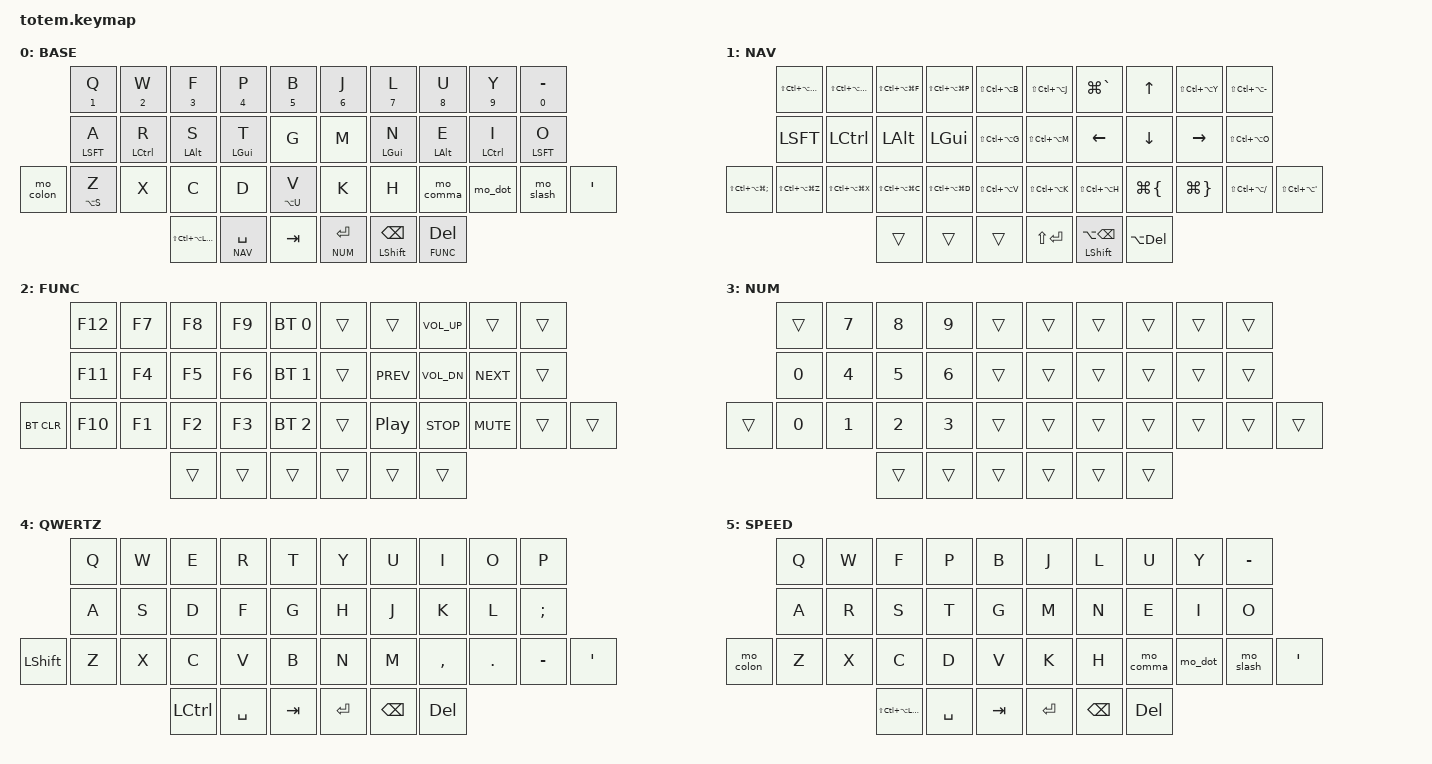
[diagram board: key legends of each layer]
//
//                                                        ▀▀▀▀▀     ▀▀▀▀▀          ▀▀█▀▀
//                                                        ▄▀▀▀▄  ▄  ▄▀▀▀▄  ▄  ▄▀▀▀▄  █  ▄▀▀▀▄
//                                                        █   █  █  █   █  █  █   █  █  █   █
//                                                         ▀▀▀   █   ▀▀▀   █   ▀▀▀   ▀   ▀▀▀
//                                                               █      ▄▄▄█▄▄▄    █   █  
//                                                               ▀      █  █  █     █▄█
//                                                             ▀▀▀▀▀    █  █  █      ▀
//                                                                      ▀  ▀  ▀
//
// ▄▄▄▄▄▄▄▄▄▄▄▄▄▄▄▄▄▄▄▄▄▄▄▄▄▄▄▄▄▄▄▄▄▄▄▄▄▄▄▄▄▄▄▄▄▄▄▄▄▄▄▄▄▄▄▄▄▄▄▄▄▄▄▄▄▄▄▄▄▄▄▄▄▄▄▄▄▄▄▄▄▄▄▄▄▄▄▄▄▄▄▄▄▄▄▄▄▄▄▄▄▄▄▄▄▄▄▄▄▄▄▄▄▄▄▄▄▄▄▄▄▄▄▄▄▄▄▄▄▄▄▄▄▄▄▄▄▄▄▄▄▄▄▄▄▄▄▄▄▄▄▄▄▄
       

#include <behaviors.dtsi>
#include <dt-bindings/zmk/keys.h>
#include <dt-bindings/zmk/bt.h>
#include <dt-bindings/zmk/outputs.h>

// Layer definitions
#define BASE 0
#define NAV  1
#define FUNC 2
#define NUM  3
#define QWERTZ 4
#define SPEED 5

// Home row mods macros for Totem (38-key layout)
// Top row: 0-4 (left), 5-9 (right)
// Home row: 10-14 (left), 15-19 (right)  
// Bottom row: 20-25 (left), 26-31 (right), this includes the extra keys on the totem
// Thumb keys: 32-34 (left), 35-37 (right)
#define KEYS_L 0 1 2 3 4 10 11 12 13 14 20 21 22 23 24 25 // left-hand keys
#define KEYS_R 5 6 7 8 9 15 16 17 18 19 26 27 28 29 30 31 // right-hand keys
#define THUMBS 32 33 34 35 36 37 // thumb keys

#define COMBO_TERM_FAST 24
#define COMBO_TERM_SLOW 40

#define COMBO_IDLE_FAST 150
#define COMBO_IDLE_SLOW 50

// Behavior customizations
&lt {
    flavor = "balanced";
    tapping-term-ms = <280>;
    quick-tap-ms = <150>;
    require-prior-idle-ms = <75>;
};

&mt {
    flavor = "balanced";
    tapping-term-ms = <200>;
    quick-tap-ms = <175>;
    bindings = <&kp>, <&kp>;
};

/ {
    behaviors {
        // Thumb shift hold-tap
        ht_shift: thumb_shift {
            compatible = "zmk,behavior-hold-tap";
            label = "THUMB_SHIFT";
            #binding-cells = <2>;
            flavor = "hold-preferred";
            tapping-term-ms = <220>;
            bindings = <&kp>, <&kp>;
        };
        
        // Home row mods - left hand (ASRT)
        hml: homerow_mods_left {
            compatible = "zmk,behavior-hold-tap";
            label = "HOMEROW_MODS_LEFT";
            #binding-cells = <2>;
            flavor = "balanced";
            tapping-term-ms = <250>;
            quick-tap-ms = <175>;
            require-prior-idle-ms = <150>;
            bindings = <&kp>, <&kp>;
            hold-trigger-key-positions = <KEYS_R THUMBS>;
            hold-trigger-on-release;
        };
        
        // Home row mods - right hand (NEIO)
        hmr: homerow_mods_right {
            compatible = "zmk,behavior-hold-tap";
            label = "HOMEROW_MODS_RIGHT";
            #binding-cells = <2>;
            flavor = "balanced";
            tapping-term-ms = <250>;
            quick-tap-ms = <175>; 
            require-prior-idle-ms = <150>;
            bindings = <&kp>, <&kp>;
            hold-trigger-key-positions = <KEYS_L THUMBS>;
            hold-trigger-on-release;
        };
        
        // Comma/Exclamation mod-morph
        mo_comma: mo_comma {
            compatible = "zmk,behavior-mod-morph";
            #binding-cells = <0>;
            bindings = <&kp COMMA>, <&kp EXCL>;
            mods = <(MOD_LSFT|MOD_RSFT)>;
        };

        // Dot/Question mod-morph
        mo_dot: mo_dot {
            compatible = "zmk,behavior-mod-morph";
            #binding-cells = <0>;
            bindings = <&kp DOT>, <&kp QMARK>;
            mods = <(MOD_LSFT|MOD_RSFT)>;
        };

        // Slash/Backslash mod-morph
        mo_slash: mo_slash {
            compatible = "zmk,behavior-mod-morph";
            #binding-cells = <0>;
            bindings = <&kp FSLH>, <&kp BSLH>;
            mods = <(MOD_LSFT|MOD_RSFT)>;
        };
        
        // Colon/Semicolon mod-morph (reversed: colon is default, semicolon when shifted)
        mo_colon: mo_colon {
            compatible = "zmk,behavior-mod-morph";
            #binding-cells = <0>;
            bindings = <&kp COLON>, <&kp SEMI>;
            mods = <(MOD_LSFT|MOD_RSFT)>;
        };
        
        // Left parenthesis / less-than mod-morph
        mo_lpar: mo_lpar {
            compatible = "zmk,behavior-mod-morph";
            #binding-cells = <0>;
            bindings = <&kp LPAR>, <&kp LT>;
            mods = <(MOD_LSFT|MOD_RSFT)>;
        };
        
        // Right parenthesis / greater-than mod-morph
        mo_rpar: mo_rpar {
            compatible = "zmk,behavior-mod-morph";
            #binding-cells = <0>;
            bindings = <&kp RPAR>, <&kp GT>;
            mods = <(MOD_LSFT|MOD_RSFT)>;
        };
        
        // Number row hold-tap
        ht_num: hold_tap_number {
            compatible = "zmk,behavior-hold-tap";
            label = "HOLD_TAP_NUMBER";
            #binding-cells = <2>;
            flavor = "balanced";
            tapping-term-ms = <300>;
            quick-tap-ms = <175>;
            bindings = <&kp>, <&kp>;
        };

        // hold-tap behavior
        ht_alt: hold_tap_alt {
            compatible = "zmk,behavior-hold-tap";
            label = "HOLD_TAP_ALT";
            #binding-cells = <2>;
            flavor = "balanced";
            tapping-term-ms = <170>;
            quick-tap-ms = <175>;
            bindings = <&kp>, <&kp>;
        };
    };

    // Macros
    macros {
        email: email {
            label = "email_macro";
            compatible = "zmk,behavior-macro";
            #binding-cells = <0>;
            bindings = <&macro_tap &kp J &kp A &kp N &kp N &kp I &kp K &kp AT &kp F &kp E &kp U &kp E &kp R &kp DOT &kp D &kp E &kp V>;
        };
    };

    // Combos
    combos {
        compatible = "zmk,combos";
        
        combo_capsword {
            timeout-ms = <COMBO_TERM_SLOW>;
            require-prior-idle-ms = <COMBO_IDLE_FAST>;
            key-positions = <10 19>; // A and O keys
            bindings = <&caps_word>;
        };
        
        combo_esc {
            timeout-ms = <COMBO_TERM_SLOW>;
            require-prior-idle-ms = <COMBO_IDLE_SLOW>;
            key-positions = <1 2>; // W and F keys
            bindings = <&kp ESC>;
        };
        
        combo_ctrl_c {
            timeout-ms = <COMBO_TERM_SLOW>;
            require-prior-idle-ms = <COMBO_IDLE_SLOW>;
            key-positions = <0 1>; // Q and W keys
            bindings = <&kp LC(C)>;
        };
        
        // Copy, Cut, Paste combos with direct keycodes
        combo_cut {
            timeout-ms = <COMBO_TERM_FAST>;
            require-prior-idle-ms = <COMBO_IDLE_FAST>;
            key-positions = <21 22>; // Z and X keys
            bindings = <&kp LG(X)>;
        };        
        
        combo_cut_alt {
            timeout-ms = <COMBO_TERM_SLOW>;
            require-prior-idle-ms = <COMBO_IDLE_SLOW>;
            key-positions = <22 24>; // X and D keys
            bindings = <&kp LG(X)>;
        };

        combo_copy {
            timeout-ms = <COMBO_TERM_FAST>;
            require-prior-idle-ms = <COMBO_IDLE_FAST>;
            key-positions = <22 23>; // X and C keys
            bindings = <&kp LG(C)>;
        };
        
        combo_paste {
            timeout-ms = <COMBO_TERM_FAST>;
            require-prior-idle-ms = <COMBO_IDLE_FAST>;
            key-positions = <23 24>; // C and D keys
            bindings = <&kp LG(V)>;
        };

        combo_hash {
            timeout-ms = <COMBO_TERM_FAST>;
            require-prior-idle-ms = <COMBO_IDLE_FAST>;
            key-positions = <13 14>; // T and G keys
            bindings = <&kp HASH>;
        };
        
        combo_dollar {
            timeout-ms = <COMBO_TERM_FAST>;
            require-prior-idle-ms = <COMBO_IDLE_FAST>;
            key-positions = <2 3>; // F and P keys
            bindings = <&kp DLLR>;
        };
        
        // Square brackets
        combo_lbracket {
            timeout-ms = <COMBO_TERM_FAST>;
            require-prior-idle-ms = <COMBO_IDLE_FAST>;
            key-positions = <6 7>; // L and U keys (top row)
            bindings = <&kp LBKT>;
        };
        
        combo_rbracket {
            timeout-ms = <COMBO_TERM_FAST>;
            require-prior-idle-ms = <COMBO_IDLE_FAST>;
            key-positions = <7 8>; // U and Y keys (top row)
            bindings = <&kp RBKT>;
        };
        
        // Parentheses
        combo_lparen {
            timeout-ms = <COMBO_TERM_FAST>;
            require-prior-idle-ms = <COMBO_IDLE_FAST>;
            key-positions = <16 17>; // N and E keys (home row)
            bindings = <&mo_lpar>;
        };
        
        combo_rparen {
            timeout-ms = <COMBO_TERM_FAST>;
            require-prior-idle-ms = <COMBO_IDLE_FAST>;
            key-positions = <17 18>; // E and I keys (home row)
            bindings = <&mo_rpar>;
        };
        
        // Curly braces
        combo_lbrace {
            timeout-ms = <COMBO_TERM_FAST>;
            require-prior-idle-ms = <COMBO_IDLE_FAST>;
            key-positions = <27 28>; // H and COMMA keys (bottom row)
            bindings = <&kp LBRC>;
        };
        
        combo_rbrace {
            timeout-ms = <COMBO_TERM_FAST>;
            require-prior-idle-ms = <COMBO_IDLE_FAST>;
            key-positions = <28 29>; // COMMA and DOT keys
            bindings = <&kp RBRC>;
        };
        
        // Arithmetic operators on home row (left hand)
        combo_equal {
            timeout-ms = <COMBO_TERM_FAST>;
            require-prior-idle-ms = <COMBO_IDLE_FAST>;
            key-positions = <12 13>; // S and T keys
            bindings = <&kp EQUAL>;
        };
        
        combo_plus {
            timeout-ms = <COMBO_TERM_FAST>;
            require-prior-idle-ms = <COMBO_IDLE_FAST>;
            key-positions = <11 12>; // R and S keys
            bindings = <&kp PLUS>;
        };
        
        combo_at {
            timeout-ms = <COMBO_TERM_FAST>;
            require-prior-idle-ms = <COMBO_IDLE_FAST>;
            key-positions = <15 16>; // M and N keys (home row)
            bindings = <&kp AT>;
        };

        // Vertical combos
        combo_percent {
            timeout-ms = <COMBO_TERM_SLOW>;
            require-prior-idle-ms = <COMBO_IDLE_SLOW>;
            key-positions = <3 13>; // P and T keys (index finger left top, vertical)
            bindings = <&kp PRCNT>;
        };
        
        combo_pipe {
            timeout-ms = <COMBO_TERM_SLOW>;
            require-prior-idle-ms = <COMBO_IDLE_SLOW>;
            key-positions = <7 17>; // U and E keys (middle finger right top, vertical)
            bindings = <&kp PIPE>;
        };
        
        combo_tilde {
            timeout-ms = <COMBO_TERM_SLOW>;
            require-prior-idle-ms = <COMBO_IDLE_SLOW>;
            key-positions = <6 16>; // L and N keys (index finger right top, vertical)
            bindings = <&kp TILDE>;
        };
        
        combo_grave {
            timeout-ms = <COMBO_TERM_SLOW>;
            require-prior-idle-ms = <COMBO_IDLE_SLOW>;
            key-positions = <16 27>; // N and H keys (index finger right bottom, vertical)
            bindings = <&kp GRAVE>;
        };
        
        combo_star {
            timeout-ms = <COMBO_TERM_SLOW>;
            require-prior-idle-ms = <COMBO_IDLE_SLOW>;
            key-positions = <12 23>; // S and C keys (middle finger left bottom, vertical)
            bindings = <&kp STAR>;
        };
        
        combo_caret {
            timeout-ms = <COMBO_TERM_SLOW>;
            require-prior-idle-ms = <COMBO_IDLE_SLOW>;
            key-positions = <2 12>; // F and S keys (middle finger left top, vertical) 
            bindings = <&kp CARET>;
        };
        
        combo_amps {
            timeout-ms = <COMBO_TERM_SLOW>;
            require-prior-idle-ms = <COMBO_IDLE_SLOW>;
            key-positions = <13 24>; // T and D keys (index finger left bottom, vertical)
            bindings = <&kp AMPS>;
        };
        
        combo_email {
            timeout-ms = <COMBO_TERM_FAST>;
            require-prior-idle-ms = <COMBO_IDLE_FAST>;
            key-positions = <14 15>; // G and M 
            bindings = <&email>;
        };

        // Ampersand combo
        combo_ampersand {
            timeout-ms = <COMBO_TERM_SLOW>;
            require-prior-idle-ms = <COMBO_IDLE_SLOW>;
            key-positions = <3 6>; // P and L keys
            bindings = <&kp AMPS>;
        };

        // Backtick combo  
        combo_grave_dh {
            timeout-ms = <COMBO_TERM_SLOW>;
            require-prior-idle-ms = <COMBO_IDLE_SLOW>;
            key-positions = <24 27>; // D and H keys
            bindings = <&kp GRAVE>;
        };

        // Star/asterisk combo
        combo_star_fu {
            timeout-ms = <COMBO_TERM_SLOW>;
            require-prior-idle-ms = <COMBO_IDLE_SLOW>;
            key-positions = <2 7>; // F and U keys
            bindings = <&kp STAR>;
        };

        // Plus combo
        combo_plus_comma_c {
            timeout-ms = <COMBO_TERM_SLOW>;
            require-prior-idle-ms = <COMBO_IDLE_SLOW>;
            key-positions = <28 23>; // comma and C keys
            bindings = <&kp PLUS>;
        };

        // Toggle SPEED layer combo
        combo_toggle_speed {
            timeout-ms = <50>;
            require-prior-idle-ms = <100>;
            key-positions = <21 30>; // Z and / keys 
            bindings = <&tog SPEED>;
        };

        // Bootloader combo
        combo_bootloader {
            timeout-ms = <60>;
            require-prior-idle-ms = <400>;
            key-positions = <20 31>; // Leftmost and rightmost keys on the bottom row
            bindings = <&bootloader>;
        };

        // QWERTZ layer toggle
        combo_toggle_qwertz {
            timeout-ms = <50>;
            require-prior-idle-ms = <100>;
            key-positions = <0 9>; // Q and - keys (top outside keys)
            bindings = <&tog QWERTZ>;
        };
    };

    keymap {
        compatible = "zmk,keymap";

        base_layer {
// ┏━━━━━━━━━━━━━━━━━━━━━━━━━━━━━━━━━━━━━━━┓
label= "BASE"                              ;
// ┗━━━━━━━━━━━━━━━━━━━━━━━━━━━━━━━━━━━━━━━┛
//             ┏━━━━━━━━━━━┳━━━━━━━━━━━┳━━━━━━━━━━━┳━━━━━━━━━━━┳━━━━━━━━━━━┓   ┏━━━━━━━━━━━┳━━━━━━━━━━━┳━━━━━━━━━━━┳━━━━━━━━━━━┳━━━━━━━━━━━┓
//             ┃   Q/1     ┃   W/2     ┃   F/3     ┃   P/4     ┃   B/5     ┃   ┃   J/6     ┃   L/7     ┃   U/8     ┃   Y/9     ┃   -/0     ┃
//             ┣━━━━━━━━━━━╋━━━━━━━━━━━╋━━━━━━━━━━━╋━━━━━━━━━━━╋━━━━━━━━━━━┫   ┣━━━━━━━━━━━╋━━━━━━━━━━━╋━━━━━━━━━━━╋━━━━━━━━━━━╋━━━━━━━━━━━┫
//             ┃   LSFT(A) ┃  LCTRL(R) ┃  LALT(S)  ┃  LGUI(T)  ┃     G     ┃   ┃     M     ┃  LGUI(N)  ┃  LALT(E)  ┃  LCTRL(I) ┃  LSFT(O)  ┃
// ┏━━━━━━━━━━━╋━━━━━━━━━━━╋━━━━━━━━━━━╋━━━━━━━━━━━╋━━━━━━━━━━━╋━━━━━━━━━━━┫   ┣━━━━━━━━━━━╋━━━━━━━━━━━╋━━━━━━━━━━━╋━━━━━━━━━━━╋━━━━━━━━━━━╋━━━━━━━━━━━┓
// ┃     :     ┃    Z/ß    ┃     X     ┃     C     ┃     D     ┃    V/Ü    ┃   ┃     K     ┃     H     ┃     ,     ┃     .     ┃     /     ┃     '     ┃
// ┗━━━━━━━━━━━┻━━━━━━━━━━━┻━━━━━━━━━━━╋━━━━━━━━━━━╋━━━━━━━━━━━╋━━━━━━━━━━━┫   ┣━━━━━━━━━━━╋━━━━━━━━━━━╋━━━━━━━━━━━╋━━━━━━━━━━━╋━━━━━━━━━━━╋━━━━━━━━━━━┛
//                                     ┃    HYPR   ┃  NAV(SPC) ┃    TAB    ┃   ┃  NUM(RET) ┃ SFT(BSPC) ┃ FUNC(DEL) ┃
//                                     ┗━━━━━━━━━━━┻━━━━━━━━━━━┻━━━━━━━━━━━┛   ┗━━━━━━━━━━━┻━━━━━━━━━━━┻━━━━━━━━━━━┛
bindings = <
// ╷           ╷           ╷           ╷           ╷           ╷           ╷ - ╷           ╷           ╷           ╷           ╷           ╷           ╷

                &ht_num N1 Q &ht_num N2 W &ht_num N3 F &ht_num N4 P &ht_num N5 B &ht_num N6 J &ht_num N7 L &ht_num N8 U &ht_num N9 Y &ht_num N0 MINUS
                &hml LSFT A &hml LCTRL R &hml LALT S &hml LGUI T &kp G           &kp M       &hmr LGUI N &hmr LALT E &hmr LCTRL I &hmr LSFT O
    &mo_colon   &ht_alt LA(S) Z &kp X     &kp C       &kp D       &ht_alt LA(U) V   &kp K       &kp H       &mo_comma   &mo_dot     &mo_slash   &kp SQT
                               &kp LS(LC(LA(LGUI))) &lt NAV SPACE &kp TAB        &lt NUM RET &ht_shift LSHFT BSPC &lt FUNC DEL
            >;
        };

        nav_layer {
// ┏━━━━━━━━━━━━━━━━━━━━━━━━━━━━━━━━━━━━━━━┓
label= "NAV"                              ;
// ┗━━━━━━━━━━━━━━━━━━━━━━━━━━━━━━━━━━━━━━━┛
//             ┏━━━━━━━━━━━┳━━━━━━━━━━━┳━━━━━━━━━━━┳━━━━━━━━━━━┳━━━━━━━━━━━┓   ┏━━━━━━━━━━━┳━━━━━━━━━━━┳━━━━━━━━━━━┳━━━━━━━━━━━┳━━━━━━━━━━━┓
//             ┃  ALL+Q    ┃  ALL+W    ┃  FINDER   ┃CMD PALETTE┃  MEH+B    ┃   ┃ GO TO DEF ┃ SWITCH WIN┃     UP    ┃ L SIDEBAR ┃ R SIDEBAR ┃
//             ┣━━━━━━━━━━━╋━━━━━━━━━━━╋━━━━━━━━━━━╋━━━━━━━━━━━╋━━━━━━━━━━━┫   ┣━━━━━━━━━━━╋━━━━━━━━━━━╋━━━━━━━━━━━╋━━━━━━━━━━━╋━━━━━━━━━━━┫
//             ┃   LSFT    ┃   LCTRL   ┃   LALT    ┃   LGUI    ┃  MEH+G    ┃   ┃ SPOTLIGHT ┃   LEFT    ┃   DOWN    ┃   RIGHT   ┃ GIT VIEW  ┃
// ┏━━━━━━━━━━━╋━━━━━━━━━━━╋━━━━━━━━━━━╋━━━━━━━━━━━╋━━━━━━━━━━━╋━━━━━━━━━━━┫   ┣━━━━━━━━━━━╋━━━━━━━━━━━╋━━━━━━━━━━━╋━━━━━━━━━━━╋━━━━━━━━━━━╋━━━━━━━━━━━┓
// ┃  ALL+SEMI ┃  SPOTIFY  ┃  SLACK    ┃  CHROME   ┃  CURSOR   ┃VOICE INPUT┃   ┃ MOUSE CTL2┃ MOUSE CTL1┃ PREV TAB  ┃  NEXT TAB ┃ BOTTOM BAR┃MOUSESCROLL┃
// ┗━━━━━━━━━━━┻━━━━━━━━━━━┻━━━━━━━━━━━╋━━━━━━━━━━━╋━━━━━━━━━━━╋━━━━━━━━━━━┫   ┣━━━━━━━━━━━╋━━━━━━━━━━━╋━━━━━━━━━━━╋━━━━━━━━━━━╋━━━━━━━━━━━╋━━━━━━━━━━━┛
//                                     ┃           ┃  ⬇ ⬇ ⬇  ┃           ┃   ┃ SHFT+RET  ┃ ALT+BSPC  ┃ ALT+DEL   ┃
//                                     ┗━━━━━━━━━━━┻━━━━━━━━━━━┻━━━━━━━━━━━┛   ┗━━━━━━━━━━━┻━━━━━━━━━━━┻━━━━━━━━━━━┛
            bindings = <
// ╷           ╷           ╷           ╷           ╷           ╷           ╷ - ╷           ╷           ╷           ╷           ╷           ╷           ╷

                &kp LS(LC(LA(LG(Q)))) &kp LS(LC(LA(LG(W)))) &kp LS(LC(LA(LG(F)))) &kp LS(LC(LA(LG(P)))) &kp LS(LC(LA(B)))     &kp LS(LC(LA(J))) &kp LG(GRAVE) &kp UP       &kp LS(LC(LA(Y))) &kp LS(LC(LA(MINUS)))
                &kp LSFT    &kp LCTRL   &kp LALT    &kp LGUI    &kp LS(LC(LA(G)))     &kp LS(LC(LA(M))) &kp LEFT &kp DOWN &kp RIGHT    &kp LS(LC(LA(O)))
    &kp LS(LC(LA(LG(SEMI)))) &kp LS(LC(LA(LG(Z)))) &kp LS(LC(LA(LG(X)))) &kp LS(LC(LA(LG(C)))) &kp LS(LC(LA(LG(D)))) &kp LS(LC(LA(V)))     &kp LS(LC(LA(K))) &kp LS(LC(LA(H))) &kp LG(LBRC) &kp LG(RBRC) &kp LS(LC(LA(FSLH))) &kp LS(LC(LA(SQT)))
                                        &trans      &trans      &trans           &kp LS(RET)   &ht_shift LSHFT LA(BSPC)  &kp LA(DEL)
            >;
        };

        func_layer {
// ┏━━━━━━━━━━━━━━━━━━━━━━━━━━━━━━━━━━━━━━━┓
label= "FUNC"                              ;
// ┗━━━━━━━━━━━━━━━━━━━━━━━━━━━━━━━━━━━━━━━┛
//             ┏━━━━━━━━━━━┳━━━━━━━━━━━┳━━━━━━━━━━━┳━━━━━━━━━━━┳━━━━━━━━━━━┓   ┏━━━━━━━━━━━┳━━━━━━━━━━━┳━━━━━━━━━━━┳━━━━━━━━━━━┳━━━━━━━━━━━┓
//             ┃    F12    ┃    F7     ┃    F8     ┃    F9     ┃           ┃   ┃           ┃           ┃  VOL UP   ┃           ┃           ┃
//             ┣━━━━━━━━━━━╋━━━━━━━━━━━╋━━━━━━━━━━━╋━━━━━━━━━━━╋━━━━━━━━━━━┫   ┣━━━━━━━━━━━╋━━━━━━━━━━━╋━━━━━━━━━━━╋━━━━━━━━━━━╋━━━━━━━━━━━┫
//             ┃    F11    ┃    F4     ┃    F5     ┃    F6     ┃           ┃   ┃           ┃   PREV    ┃  VOL DN   ┃   NEXT    ┃           ┃
// ┏━━━━━━━━━━━╋━━━━━━━━━━━╋━━━━━━━━━━━╋━━━━━━━━━━━╋━━━━━━━━━━━╋━━━━━━━━━━━┫   ┣━━━━━━━━━━━╋━━━━━━━━━━━╋━━━━━━━━━━━╋━━━━━━━━━━━╋━━━━━━━━━━━╋━━━━━━━━━━━┓
// ┃           ┃    F10    ┃    F1     ┃    F2     ┃    F3     ┃           ┃   ┃           ┃PLAY/PAUSE ┃   STOP    ┃   MUTE    ┃           ┃           ┃
// ┗━━━━━━━━━━━┻━━━━━━━━━━━┻━━━━━━━━━━━╋━━━━━━━━━━━╋━━━━━━━━━━━╋━━━━━━━━━━━┫   ┣━━━━━━━━━━━╋━━━━━━━━━━━╋━━━━━━━━━━━╋━━━━━━━━━━━╋━━━━━━━━━━━╋━━━━━━━━━━━┛
//                                     ┃           ┃           ┃           ┃   ┃           ┃           ┃  ⬇ ⬇ ⬇  ┃
//                                     ┗━━━━━━━━━━━┻━━━━━━━━━━━┻━━━━━━━━━━━┛   ┗━━━━━━━━━━━┻━━━━━━━━━━━┻━━━━━━━━━━━┛
            bindings = <
// ╷           ╷           ╷           ╷           ╷           ╷           ╷ - ╷           ╷           ╷           ╷           ╷           ╷           ╷

                &kp F12     &kp F7      &kp F8      &kp F9      &bt BT_SEL 0    &trans      &trans      &kp C_VOL_UP &trans     &trans
                &kp F11     &kp F4      &kp F5      &kp F6      &bt BT_SEL 1    &trans      &kp C_PREV  &kp C_VOL_DN &kp C_NEXT &trans
    &bt BT_CLR  &kp F10     &kp F1      &kp F2      &kp F3      &bt BT_SEL 2    &trans      &kp C_PP    &kp C_STOP   &kp C_MUTE &trans &trans
                                        &trans      &trans      &trans          &trans      &trans      &trans
            >;
        };

        num_layer {
// ┏━━━━━━━━━━━━━━━━━━━━━━━━━━━━━━━━━━━━━━━┓
label= "NUM"                              ;
// ┗━━━━━━━━━━━━━━━━━━━━━━━━━━━━━━━━━━━━━━━┛
//             ┏━━━━━━━━━━━┳━━━━━━━━━━━┳━━━━━━━━━━━┳━━━━━━━━━━━┳━━━━━━━━━━━┓   ┏━━━━━━━━━━━┳━━━━━━━━━━━┳━━━━━━━━━━━┳━━━━━━━━━━━┳━━━━━━━━━━━┓
//             ┃           ┃     7     ┃     8     ┃     9     ┃           ┃   ┃    BT 1   ┃    BT 2   ┃    BT 3   ┃  BT CLEAR ┃           ┃
//             ┣━━━━━━━━━━━╋━━━━━━━━━━━╋━━━━━━━━━━━╋━━━━━━━━━━━╋━━━━━━━━━━━┫   ┣━━━━━━━━━━━╋━━━━━━━━━━━╋━━━━━━━━━━━╋━━━━━━━━━━━╋━━━━━━━━━━━┫
//             ┃     0     ┃     4     ┃     5     ┃     6     ┃           ┃   ┃           ┃           ┃           ┃           ┃           ┃
// ┏━━━━━━━━━━━╋━━━━━━━━━━━╋━━━━━━━━━━━╋━━━━━━━━━━━╋━━━━━━━━━━━╋━━━━━━━━━━━┫   ┣━━━━━━━━━━━╋━━━━━━━━━━━╋━━━━━━━━━━━╋━━━━━━━━━━━╋━━━━━━━━━━━╋━━━━━━━━━━━┓
// ┃           ┃     0     ┃     1     ┃     2     ┃     3     ┃           ┃   ┃           ┃           ┃           ┃           ┃           ┃           ┃
// ┗━━━━━━━━━━━┻━━━━━━━━━━━┻━━━━━━━━━━━╋━━━━━━━━━━━╋━━━━━━━━━━━╋━━━━━━━━━━━┫   ┣━━━━━━━━━━━╋━━━━━━━━━━━╋━━━━━━━━━━━╋━━━━━━━━━━━╋━━━━━━━━━━━╋━━━━━━━━━━━┛
//                                     ┃           ┃           ┃           ┃   ┃  ⬇ ⬇ ⬇  ┃           ┃           ┃
//                                     ┗━━━━━━━━━━━┻━━━━━━━━━━━┻━━━━━━━━━━━┛   ┗━━━━━━━━━━━┻━━━━━━━━━━━┻━━━━━━━━━━━┛
            bindings = <
// ╷           ╷           ╷           ╷           ╷           ╷           ╷ - ╷           ╷           ╷           ╷           ╷           ╷           ╷

                &trans      &kp N7      &kp N8      &kp N9      &trans          &trans      &trans      &trans      &trans      &trans
                &kp N0      &kp N4      &kp N5      &kp N6      &trans          &trans      &trans      &trans      &trans      &trans
    &trans      &kp N0      &kp N1      &kp N2      &kp N3      &trans          &trans      &trans      &trans      &trans      &trans &trans
                                        &trans      &trans      &trans          &trans      &trans      &trans
            >;
        };

        qwertz_layer {
// ┏━━━━━━━━━━━━━━━━━━━━━━━━━━━━━━━━━━━━━━━┓
label= "QWERTZ"                              ;
// ┗━━━━━━━━━━━━━━━━━━━━━━━━━━━━━━━━━━━━━━━┛
//             ┏━━━━━━━━━━━┳━━━━━━━━━━━┳━━━━━━━━━━━┳━━━━━━━━━━━┳━━━━━━━━━━━┓   ┏━━━━━━━━━━━┳━━━━━━━━━━━┳━━━━━━━━━━━┳━━━━━━━━━━━┳━━━━━━━━━━━┓
//             ┃     Q     ┃     W     ┃     E     ┃     R     ┃     T     ┃   ┃     Z     ┃     U     ┃     I     ┃     O     ┃     P     ┃
//             ┣━━━━━━━━━━━╋━━━━━━━━━━━╋━━━━━━━━━━━╋━━━━━━━━━━━╋━━━━━━━━━━━┫   ┣━━━━━━━━━━━╋━━━━━━━━━━━╋━━━━━━━━━━━╋━━━━━━━━━━━╋━━━━━━━━━━━┫
//             ┃     A     ┃     S     ┃     D     ┃     F     ┃     G     ┃   ┃     H     ┃     J     ┃     K     ┃     L     ┃     Ö     ┃
// ┏━━━━━━━━━━━╋━━━━━━━━━━━╋━━━━━━━━━━━╋━━━━━━━━━━━╋━━━━━━━━━━━╋━━━━━━━━━━━┫   ┣━━━━━━━━━━━╋━━━━━━━━━━━╋━━━━━━━━━━━╋━━━━━━━━━━━╋━━━━━━━━━━━╋━━━━━━━━━━━┓
// ┃   SHIFT   ┃     Y     ┃     X     ┃     C     ┃     V     ┃     B     ┃   ┃     N     ┃     M     ┃     ,     ┃     .     ┃     -     ┃     Ä     ┃
// ┗━━━━━━━━━━━┻━━━━━━━━━━━┻━━━━━━━━━━━╋━━━━━━━━━━━╋━━━━━━━━━━━╋━━━━━━━━━━━┫   ┣━━━━━━━━━━━╋━━━━━━━━━━━╋━━━━━━━━━━━╋━━━━━━━━━━━╋━━━━━━━━━━━╋━━━━━━━━━━━┛
//                                     ┃    CTRL   ┃    SPC    ┃    TAB    ┃   ┃    ENT    ┃    BSPC   ┃    DEL    ┃
//                                     ┗━━━━━━━━━━━┻━━━━━━━━━━━┻━━━━━━━━━━━┛   ┗━━━━━━━━━━━┻━━━━━━━━━━━┻━━━━━━━━━━━┛
            bindings = <
// ╷           ╷           ╷           ╷           ╷           ╷           ╷ - ╷           ╷           ╷           ╷           ╷           ╷           ╷

                &kp Q       &kp W       &kp E       &kp R       &kp T             &kp Y       &kp U       &kp I       &kp O       &kp P
                &kp A       &kp S       &kp D       &kp F       &kp G             &kp H       &kp J       &kp K       &kp L       &kp SEMI
    &kp LSHFT   &kp Z       &kp X       &kp C       &kp V       &kp B             &kp N       &kp M       &kp COMMA   &kp DOT     &kp MINUS   &kp SQT
                                        &kp LCTRL   &kp SPACE   &kp TAB           &kp RET     &kp BSPC    &kp DEL
            >;
        };

        speed_layer {
// ┏━━━━━━━━━━━━━━━━━━━━━━━━━━━━━━━━━━━━━━━┓
label= "SPEED"                              ;
// ┗━━━━━━━━━━━━━━━━━━━━━━━━━━━━━━━━━━━━━━━┛
//             ┏━━━━━━━━━━━┳━━━━━━━━━━━┳━━━━━━━━━━━┳━━━━━━━━━━━┳━━━━━━━━━━━┓   ┏━━━━━━━━━━━┳━━━━━━━━━━━┳━━━━━━━━━━━┳━━━━━━━━━━━┳━━━━━━━━━━━┓
//             ┃     Q     ┃     W     ┃     F     ┃     P     ┃     B     ┃   ┃     J     ┃     L     ┃     U     ┃     Y     ┃     -     ┃
//             ┣━━━━━━━━━━━╋━━━━━━━━━━━╋━━━━━━━━━━━╋━━━━━━━━━━━╋━━━━━━━━━━━┫   ┣━━━━━━━━━━━╋━━━━━━━━━━━╋━━━━━━━━━━━╋━━━━━━━━━━━╋━━━━━━━━━━━┫
//             ┃     A     ┃     R     ┃     S     ┃     T     ┃     G     ┃   ┃     M     ┃     N     ┃     E     ┃     I     ┃     O     ┃
// ┏━━━━━━━━━━━╋━━━━━━━━━━━╋━━━━━━━━━━━╋━━━━━━━━━━━╋━━━━━━━━━━━╋━━━━━━━━━━━┫   ┣━━━━━━━━━━━╋━━━━━━━━━━━╋━━━━━━━━━━━╋━━━━━━━━━━━╋━━━━━━━━━━━╋━━━━━━━━━━━┓
// ┃     :     ┃     Z     ┃     X     ┃     C     ┃     D     ┃     V     ┃   ┃     K     ┃     H     ┃     ,     ┃     .     ┃     /     ┃     '     ┃
// ┗━━━━━━━━━━━┻━━━━━━━━━━━┻━━━━━━━━━━━╋━━━━━━━━━━━╋━━━━━━━━━━━╋━━━━━━━━━━━┫   ┣━━━━━━━━━━━╋━━━━━━━━━━━╋━━━━━━━━━━━╋━━━━━━━━━━━╋━━━━━━━━━━━╋━━━━━━━━━━━┛
//                                     ┃    HYPR   ┃    SPC    ┃    TAB    ┃   ┃    ENT    ┃    BSPC   ┃    DEL    ┃
//                                     ┗━━━━━━━━━━━┻━━━━━━━━━━━┻━━━━━━━━━━━┛   ┗━━━━━━━━━━━┻━━━━━━━━━━━┻━━━━━━━━━━━┛
            bindings = <
// ╷           ╷           ╷           ╷           ╷           ╷           ╷ - ╷           ╷           ╷           ╷           ╷           ╷           ╷

                &kp Q       &kp W       &kp F       &kp P       &kp B             &kp J       &kp L       &kp U       &kp Y       &kp MINUS
                &kp A       &kp R       &kp S       &kp T       &kp G             &kp M       &kp N       &kp E       &kp I       &kp O
    &mo_colon   &kp Z       &kp X       &kp C       &kp D       &kp V             &kp K       &kp H       &mo_comma   &mo_dot     &mo_slash   &kp SQT
                                        &kp LS(LC(LA(LGUI))) &kp SPACE &kp TAB    &kp RET     &kp BSPC    &kp DEL
            >;
        };
    };
};
